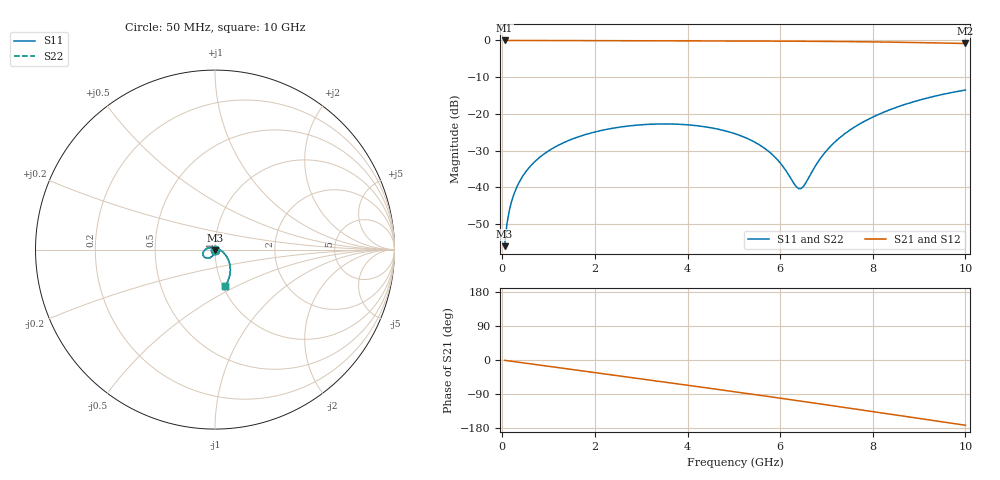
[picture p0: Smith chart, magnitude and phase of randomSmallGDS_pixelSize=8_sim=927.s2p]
! freq	dB(S11)	phase(S11)	dB(S12)	phase(S12)
!  dB(S21)	phase(S21)	dB(S22)	phase(S22)
!S-par simulation data
#  GHz  S  DB  R 50
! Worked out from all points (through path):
!   200 points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, 50 MHz to 10 GHz, reference 50 ohm
!   highest |S21| = 0.00 dB at 50 MHz (marker M1); lowest = -0.8 dB at 10 GHz (marker M2)
!   group delay of S21, straight-line fit = 47.7 ps
!   lowest |S11| = -56.0 dB at 50 MHz (marker M3), VSWR 1.00, Z = 50 - j0.159 ohm
!   |S11| at or under -10 dB: start of sweep to end of sweep
!   |S22| runs from -56.0 to -13.5 dB; largest |S21 - S12| = 0
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0.05  -55.98 -90.4  -0.00 -0.8  -0.00 -0.8  -55.98 -90.4
0.1  -49.93 -92.0  -0.00 -1.7  -0.00 -1.7  -49.93 -92.0
0.2  -43.84 -94.1  -0.00 -3.4  -0.00 -3.4  -43.84 -94.1
0.35  -38.95 -96.7  -0.01 -5.9  -0.01 -5.9  -38.95 -96.7
0.5  -35.86 -99.2  -0.01 -8.4  -0.01 -8.4  -35.86 -99.2
1  -30.04 -107.7  -0.02 -16.7  -0.02 -16.7  -30.04 -107.7
1.75  -25.78 -120.5  -0.04 -29.1  -0.04 -29.1  -25.78 -120.5
2.55  -23.56 -134.2  -0.07 -42.4  -0.07 -42.4  -23.56 -134.2
3.4  -22.72 -149.0  -0.09 -56.5  -0.09 -56.5  -22.72 -148.9
4.3  -23.36 -165.4  -0.11 -71.6  -0.11 -71.6  -23.36 -165.3
5.05  -25.49 179.2  -0.14 -84.4  -0.14 -84.4  -25.49 179.3
5.45  -27.66 169.2  -0.15 -91.2  -0.15 -91.2  -27.66 169.3
5.8  -30.70 157.3  -0.17 -97.3  -0.17 -97.3  -30.71 157.5
6.05  -34.10 143.0  -0.18 -101.6  -0.18 -101.6  -34.13 143.3
6.4  -40.30 83.0  -0.21 -107.7  -0.21 -107.7  -40.42 83.2
6.5  -39.76 53.0  -0.21 -109.5  -0.21 -109.5  -39.87 52.8
6.7  -35.45 15.2  -0.23 -113.0  -0.23 -113.0  -35.50 14.8
7  -30.00 -7.1  -0.26 -118.3  -0.26 -118.3  -30.02 -7.3
7.35  -25.82 -20.1  -0.30 -124.5  -0.30 -124.5  -25.83 -20.3
8.35  -18.95 -43.8  -0.45 -142.5  -0.45 -142.5  -18.96 -43.9
9.2  -15.59 -60.4  -0.63 -157.8  -0.63 -157.8  -15.59 -60.5
10  -13.49 -75.1  -0.83 -172.2  -0.83 -172.2  -13.49 -75.2
